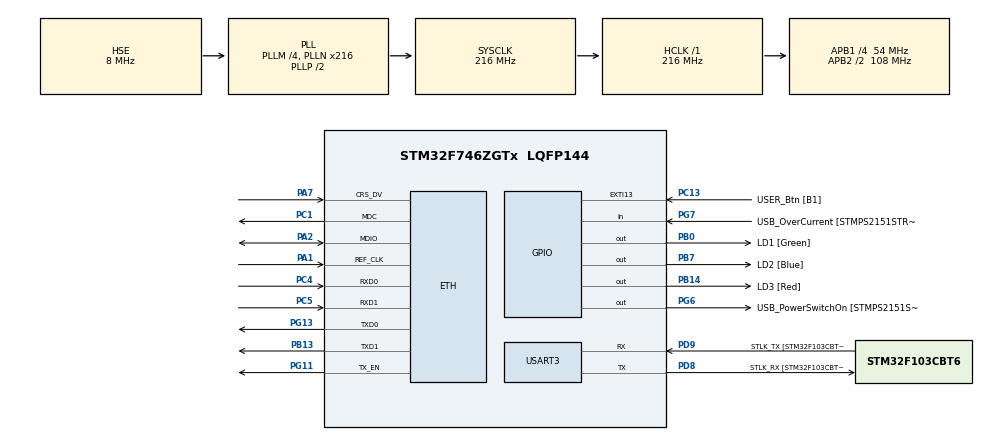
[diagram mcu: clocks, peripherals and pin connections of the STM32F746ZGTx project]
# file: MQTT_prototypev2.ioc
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ETH.MediaInterface=HAL_ETH_RMII_MODE
FREERTOS.MEMORY_ALLOCATION=2
FREERTOS.Tasks01=defaultTask,0,256,StartDefaultTask,Default,NULL,Static,defaultTaskBuffer,defaultTaskControlBlock;mqttClientTask,0,2048,mqttStartClient,As weak,NULL,Static,mqttClientTaskBuffer,mqttClientTaskControlBlock;dataCollection,3,2048,StartDataCollection,As weak,NULL,Static,dataCollectionBuffer,dataCollectionControlBlock;RTOS_UART_TASK,-3,512,StartTask04,As weak,NULL,Static,RTOS_UART_TASKBuffer,RTOS_UART_TASKControlBlock
FREERTOS.configTOTAL_HEAP_SIZE=30620
FREERTOS.configUSE_NEWLIB_REENTRANT=1
LWIP.BSP.number=1
LWIP.IP_ADDRESS=192.168.001.200
LWIP.LWIP_DHCP=0
LWIP.LWIP_RAM_HEAP_POINTER=0x20027f58
LWIP.LWIP_UDP=1
LWIP.MEM_SIZE=1024*8
LWIP.NETMASK_ADDRESS=255.255.255.000
LWIP.Version=v2.1.2_Cube
LWIP0.BSP.STBoard=false
LWIP0.BSP.api=BSP_COMPONENT_DRIVER
LWIP0.BSP.component=LAN8742
LWIP0.BSP.instance=LAN8742
LWIP0.BSP.name=Driver_PHY
LWIP0.BSP.semaphore=S_LAN8742
LWIP0.BSP.solution=LAN8742
Mcu.Family=STM32F7
Mcu.Name=STM32F746ZGTx
Mcu.Package=LQFP144
NVIC.ETH_IRQn=true\:5\:0\:false\:false\:true\:true\:false\:true\:true
NVIC.PriorityGroup=NVIC_PRIORITYGROUP_4
NVIC.TIM6_DAC_IRQn=true\:15\:0\:false\:false\:true\:false\:false\:true\:true
NVIC.TimeBase=TIM6_DAC_IRQn
NVIC.TimeBaseIP=TIM6
PA1.GPIO_Mode=GPIO_MODE_AF_PP
PA1.GPIO_PuPd=GPIO_NOPULL
PA1.GPIO_Speed=GPIO_SPEED_FREQ_VERY_HIGH
PA1.Mode=RMII
PA1.Signal=ETH_REF_CLK
PA10.GPIO_Label=USB_ID
PA10.Signal=USB_OTG_FS_ID
PA11.GPIO_Label=USB_DM
PA11.Signal=USB_OTG_FS_DM
PA12.GPIO_Label=USB_DP
PA12.Signal=USB_OTG_FS_DP
PA13.GPIO_Label=TMS
PA13.Mode=Serial_Wire
PA13.Signal=SYS_JTMS-SWDIO
PA14.GPIO_Label=TCK
PA14.Mode=Serial_Wire
PA14.Signal=SYS_JTCK-SWCLK
PA2.GPIO_Mode=GPIO_MODE_AF_PP
PA2.GPIO_PuPd=GPIO_NOPULL
PA2.GPIO_Speed=GPIO_SPEED_FREQ_VERY_HIGH
PA2.Mode=RMII
PA2.Signal=ETH_MDIO
PA7.GPIO_Mode=GPIO_MODE_AF_PP
PA7.GPIO_PuPd=GPIO_NOPULL
PA7.GPIO_Speed=GPIO_SPEED_FREQ_VERY_HIGH
PA7.Mode=RMII
PA7.Signal=ETH_CRS_DV
PA8.GPIO_Label=USB_SOF [TP1]
PA8.Signal=USB_OTG_FS_SOF
PA9.GPIO_Label=USB_VBUS
PA9.Signal=USB_OTG_FS_VBUS
PB0.GPIO_Label=LD1 [Green]
PB0.Signal=GPIO_Output
PB13.GPIO_Mode=GPIO_MODE_AF_PP
PB13.GPIO_PuPd=GPIO_NOPULL
PB13.GPIO_Speed=GPIO_SPEED_FREQ_VERY_HIGH
PB13.Mode=RMII
PB13.Signal=ETH_TXD1
PB14.GPIO_Label=LD3 [Red]
PB14.Signal=GPIO_Output
PB3.GPIO_Label=SW0
PB3.Signal=SYS_JTDO-SWO
PB7.GPIO_Label=LD2 [Blue]
PB7.Signal=GPIO_Output
PB8.Signal=I2C1_SCL
PB9.Signal=I2C1_SDA
PC1.GPIO_Mode=GPIO_MODE_AF_PP
PC1.GPIO_PuPd=GPIO_NOPULL
PC1.GPIO_Speed=GPIO_SPEED_FREQ_VERY_HIGH
PC1.Mode=RMII
PC1.Signal=ETH_MDC
PC13.GPIO_Label=USER_Btn [B1]
PC13.Signal=GPXTI13
PC14/OSC32_IN.Mode=LSE-External-Oscillator
PC14/OSC32_IN.Signal=RCC_OSC32_IN
PC15/OSC32_OUT.Mode=LSE-External-Oscillator
PC15/OSC32_OUT.Signal=RCC_OSC32_OUT
PC4.GPIO_Mode=GPIO_MODE_AF_PP
PC4.GPIO_PuPd=GPIO_NOPULL
PC4.GPIO_Speed=GPIO_SPEED_FREQ_VERY_HIGH
PC4.Mode=RMII
PC4.Signal=ETH_RXD0
PC5.GPIO_Mode=GPIO_MODE_AF_PP
PC5.GPIO_PuPd=GPIO_NOPULL
PC5.GPIO_Speed=GPIO_SPEED_FREQ_VERY_HIGH
PC5.Mode=RMII
PC5.Signal=ETH_RXD1
PD8.GPIO_Label=STLK_RX [STM32F103CBT6_PA3]
PD8.GPIO_PuPd=GPIO_PULLUP
PD8.Mode=Asynchronous
PD8.Signal=USART3_TX
PD9.GPIO_Label=STLK_TX [STM32F103CBT6_PA2]
PD9.GPIO_PuPd=GPIO_PULLUP
PD9.Mode=Asynchronous
PD9.Signal=USART3_RX
PG11.GPIO_Mode=GPIO_MODE_AF_PP
PG11.GPIO_PuPd=GPIO_NOPULL
PG11.GPIO_Speed=GPIO_SPEED_FREQ_VERY_HIGH
PG11.Mode=RMII
PG11.Signal=ETH_TX_EN
PG13.GPIO_Mode=GPIO_MODE_AF_PP
PG13.GPIO_PuPd=GPIO_NOPULL
PG13.GPIO_Speed=GPIO_SPEED_FREQ_VERY_HIGH
PG13.Mode=RMII
PG13.Signal=ETH_TXD0
PG6.GPIO_Label=USB_PowerSwitchOn [STMPS2151STR_EN]
PG6.Signal=GPIO_Output
PG7.GPIO_Label=USB_OverCurrent [STMPS2151STR_FAULT]
PG7.Signal=GPIO_Input
PH0/OSC_IN.GPIO_Label=MCO [STM32F103CBT6_PA8]
PH0/OSC_IN.Mode=HSE-External-Clock-Source
PH0/OSC_IN.Signal=RCC_OSC_IN
PH1/OSC_OUT.Mode=HSE-External-Clock-Source
PH1/OSC_OUT.Signal=RCC_OSC_OUT
ProjectManager.HeapSize=0x200
ProjectManager.StackSize=0x400
ProjectManager.TargetToolchain=STM32CubeIDE
RCC.48MHZClocksFreq_Value=24000000
RCC.AHBFreq_Value=216000000
RCC.APB1CLKDivider=RCC_HCLK_DIV4
RCC.APB1Freq_Value=54000000
RCC.APB1TimFreq_Value=108000000
RCC.APB2CLKDivider=RCC_HCLK_DIV2
RCC.APB2Freq_Value=108000000
RCC.APB2TimFreq_Value=216000000
RCC.CortexFreq_Value=216000000
RCC.HCLKFreq_Value=216000000
RCC.HSE_VALUE=8000000
RCC.HSI_VALUE=16000000
RCC.PLLM=4
RCC.PLLMUL=RCC_PLL_MUL9
RCC.PLLN=216
RCC.PLLQ=3
RCC.PLLSourceVirtual=RCC_PLLSOURCE_HSE
RCC.PRESCALERUSB=RCC_USBCLKSOURCE_PLL_DIV1_5
RCC.SYSCLKFreq_VALUE=216000000
RCC.SYSCLKSource=RCC_SYSCLKSOURCE_PLLCLK
RCC.SYSCLKSourceVirtual=RCC_SYSCLKSOURCE_PLLCLK
RCC.USBFreq_Value=144000000
RCC.VCOOutputFreq_Value=432000000
USART3.VirtualMode-Asynchronous=VM_ASYNC
VP_FREERTOS_VS_CMSIS_V1.Mode=CMSIS_V1
VP_LWIP_VS_Enabled.Mode=Enabled
VP_SYS_VS_tim6.Mode=TIM6
board=NUCLEO-F746ZG

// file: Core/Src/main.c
/* USER CODE BEGIN Header */
/**
  ******************************************************************************
  * @file           : main.c
  * @brief          : Main program body
  ******************************************************************************
  * @attention
  *
  * Copyright (c) 2025 STMicroelectronics.
  * All rights reserved.
  *
  * This software is licensed under terms that can be found in the LICENSE file
  * in the root directory of this software component.
  * If no LICENSE file comes with this software, it is provided AS-IS.
  *
  ******************************************************************************
  */
/* USER CODE END Header */
#include "main.h"
#include "cmsis_os.h"
#include "lwip.h"
#include "usart.h"
#include "gpio.h"

/* USER CODE BEGIN Includes */
#include "stdio.h"
#include "mqtt_client.h"
#include "mockup_data_generation.h"
/* USER CODE END Includes */

/* USER CODE BEGIN PV */
int _write(int file, char *ptr, int len)
	{
	    HAL_UART_Transmit(&huart3, (uint8_t*)ptr, len, HAL_MAX_DELAY);
	    return len;
	}

extern int32_t FullPacketA[3340];
extern int32_t FullPacketB[3340];
/* USER CODE END PV */

void SystemClock_Config(void);
void MX_FREERTOS_Init(void);

int main(void)
{

  /* MCU Configuration--------------------------------------------------------*/

  /* Reset of all peripherals, Initializes the Flash interface and the Systick. */
  HAL_Init();

  /* Configure the system clock */
  SystemClock_Config();

  /* Initialize all configured peripherals */
  MX_GPIO_Init();
  MX_USART3_UART_Init();
  /* USER CODE BEGIN 2 */
  init_mockup_data();

  /* USER CODE END 2 */

  /* Call init function for freertos objects (in cmsis_os2.c) */
  MX_FREERTOS_Init();

  /* Start scheduler */
  osKernelStart();

  /* We should never get here as control is now taken by the scheduler */

  /* Infinite loop */
  while (1)
  {

  }
}

void SystemClock_Config(void)
{
  RCC_OscInitTypeDef RCC_OscInitStruct = {0};
  RCC_ClkInitTypeDef RCC_ClkInitStruct = {0};

  /** Configure LSE Drive Capability
  */
  HAL_PWR_EnableBkUpAccess();

  /** Configure the main internal regulator output voltage
  */
  __HAL_RCC_PWR_CLK_ENABLE();
  __HAL_PWR_VOLTAGESCALING_CONFIG(PWR_REGULATOR_VOLTAGE_SCALE1);

  /** Initializes the RCC Oscillators according to the specified parameters
  * in the RCC_OscInitTypeDef structure.
  */
  RCC_OscInitStruct.OscillatorType = RCC_OSCILLATORTYPE_HSE;
  RCC_OscInitStruct.HSEState = RCC_HSE_BYPASS;
  RCC_OscInitStruct.PLL.PLLState = RCC_PLL_ON;
  RCC_OscInitStruct.PLL.PLLSource = RCC_PLLSOURCE_HSE;
  RCC_OscInitStruct.PLL.PLLM = 4;
  RCC_OscInitStruct.PLL.PLLN = 216;
  RCC_OscInitStruct.PLL.PLLP = RCC_PLLP_DIV2;
  RCC_OscInitStruct.PLL.PLLQ = 3;
  if (HAL_RCC_OscConfig(&RCC_OscInitStruct) != HAL_OK)
  {
    Error_Handler();
  }

  /** Activate the Over-Drive mode
  */
  if (HAL_PWREx_EnableOverDrive() != HAL_OK)
  {
    Error_Handler();
  }

  /** Initializes the CPU, AHB and APB buses clocks
  */
  RCC_ClkInitStruct.ClockType = RCC_CLOCKTYPE_HCLK|RCC_CLOCKTYPE_SYSCLK
                              |RCC_CLOCKTYPE_PCLK1|RCC_CLOCKTYPE_PCLK2;
  RCC_ClkInitStruct.SYSCLKSource = RCC_SYSCLKSOURCE_PLLCLK;
  RCC_ClkInitStruct.AHBCLKDivider = RCC_SYSCLK_DIV1;
  RCC_ClkInitStruct.APB1CLKDivider = RCC_HCLK_DIV4;
  RCC_ClkInitStruct.APB2CLKDivider = RCC_HCLK_DIV2;

  if (HAL_RCC_ClockConfig(&RCC_ClkInitStruct, FLASH_LATENCY_7) != HAL_OK)
  {
    Error_Handler();
  }
}

void HAL_TIM_PeriodElapsedCallback(TIM_HandleTypeDef *htim)
{
  if (htim->Instance == TIM6) {
    HAL_IncTick();
  }
}

void Error_Handler(void)
{
  __disable_irq();
  while (1)
  {
  }
}

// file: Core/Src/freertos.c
/* USER CODE BEGIN Header */
/**
  ******************************************************************************
  * File Name          : freertos.c
  * Description        : Code for freertos applications
  ******************************************************************************
  * @attention
  *
  * Copyright (c) 2025 STMicroelectronics.
  * All rights reserved.
  *
  * This software is licensed under terms that can be found in the LICENSE file
  * in the root directory of this software component.
  * If no LICENSE file comes with this software, it is provided AS-IS.
  *
  ******************************************************************************
  */
/* USER CODE END Header */

#include "FreeRTOS.h"
#include "task.h"
#include "main.h"
#include "cmsis_os.h"

/* USER CODE BEGIN Includes */
#include "lwip/opt.h"
#include "lwip/api.h"
#include "lwip/sys.h"
#include <string.h>
#include <stdio.h>
#include "mqtt.h"
#include "mqtt_pal.h"
#include "lwip/netif.h"
#include "usart.h"
#include <sys/socket.h>
#include <arpa/inet.h>
#include <unistd.h>
#include <string.h>
#include "mqtt_client.h"
#include "json_parser.h"
#include "fullpacket.h"

#define MQTT_SEND_BUF_SIZE 20480
#define MQTT_RECV_BUF_SIZE 512
#define HTTP_SEND_BUF_SIZE 1024
#define HTTP_RECV_BUF_SIZE 1024

extern struct netif gnetif;
osSemaphoreId lwipReadySemHandle;
osSemaphoreId httpSetupReadySemHandle;

static unsigned char mqtt_sendbuf[MQTT_SEND_BUF_SIZE] __attribute__((aligned(4)));
static unsigned char mqtt_recvbuf[MQTT_RECV_BUF_SIZE];

static char http_sendbuf[HTTP_SEND_BUF_SIZE];
static char http_recvbuf[HTTP_RECV_BUF_SIZE];
char request_json[512];
char response_json[512];

#define HTTP_CREATE_NEW_BENCH 1

//url in the POST request
	const char* urls[] = {
	    "user/login",
	    "bench",
	    "bench-version",
	    "bench-version-token",
	    "fault",
	    "fault-value",
		"condition",
		"condition-value",
		"test-session/create"
	};

typedef enum {
    MQTT_STATE_INIT = 0,
    MQTT_STATE_SOCK_CREATE,
    MQTT_STATE_NETCONN_CONNECT,
    MQTT_STATE_MQTT_INIT,
    MQTT_STATE_MQTT_CONNECT,
	MQTT_STATE_CONNECTING,
    MQTT_STATE_MQTT_LOOP,
    MQTT_STATE_ERROR,
	MQTT_STATE_MQTT_PUBLISH,
	MQTT_STATE_SYNC

} mqtt_state_t;

typedef enum {
    HTTP_STATE_INIT = 0,
    HTTP_SOCK_CONN_CREAT,
    HTTP_LOGIN,
	HTTP_CREATE_BENCH,
	HTTP_CREATE_BENCH_VER,
	HTTP_START_SESSION
} http_state_t;

mqtt_state_t mqtt_state;
http_state_t http_state;
struct mqtt_client client;
const char mqtt_username[]="iot_user";
const char mqtt_password[]="iot_password";
const char mqtt_client_id[]="STM32 Logger BLDC Motor v1.0";

//mqtt_topic[]= "device/%s/raw" -%s is bench_id
char mqtt_topic[64]="device/raw";

err_t error;
_Bool start_process=0;
_Bool success;
int msg_cnt = 0;
char error_msg[128];

HttpClient_t http_client;

FullPacket_t PacketA,PacketB;

int bench_id=-1;
int condition_value_id=-1;
int bench_version_id=-1;
int fault_id=-1;
int fault_value_id[3];
int condition_id=-1;
int dataseries_id=-1;

//Tokens
char version_token[128];
char access_token[128];

int fault_value[3]={0,2,4};

int condition[3]={5000,6000,7000};

const char bench_name[]="Test Bench";
const char bench_version_name[]="Test Version 1.0";
const char fault_name[]="Electrical Fault";
const char condition_name[]="Speed Condition";

_Bool create_session_success=0;
/* USER CODE END Includes */

osThreadId defaultTaskHandle;
uint32_t defaultTaskBuffer[ 2048 ];
osStaticThreadDef_t defaultTaskControlBlock;
osThreadId mqttClientTaskHandle;
uint32_t mqttClientTaskBuffer[ 2048 ];
osStaticThreadDef_t mqttClientTaskControlBlock;
osThreadId dataCollectionHandle;
uint32_t dataCollectionBuffer[ 2048 ];
osStaticThreadDef_t dataCollectionControlBlock;
osThreadId RTOS_UART_TASKHandle;
uint32_t RTOS_UART_TASKBuffer[ 512 ];
osStaticThreadDef_t RTOS_UART_TASKControlBlock;

void StartDefaultTask(void const * argument);
void mqttStartClient(void const * argument);
void StartDataCollection(void const * argument);
void StartTask04(void const * argument);

extern void MX_LWIP_Init(void);
void MX_FREERTOS_Init(void); /* (MISRA C 2004 rule 8.1) */

/* GetIdleTaskMemory prototype (linked to static allocation support) */
void vApplicationGetIdleTaskMemory( StaticTask_t **ppxIdleTaskTCBBuffer, StackType_t **ppxIdleTaskStackBuffer, uint32_t *pulIdleTaskStackSize );

/* USER CODE BEGIN GET_IDLE_TASK_MEMORY */
static StaticTask_t xIdleTaskTCBBuffer;
static StackType_t xIdleStack[configMINIMAL_STACK_SIZE];

void vApplicationGetIdleTaskMemory( StaticTask_t **ppxIdleTaskTCBBuffer, StackType_t **ppxIdleTaskStackBuffer, uint32_t *pulIdleTaskStackSize )
{
  *ppxIdleTaskTCBBuffer = &xIdleTaskTCBBuffer;
  *ppxIdleTaskStackBuffer = &xIdleStack[0];
  *pulIdleTaskStackSize = configMINIMAL_STACK_SIZE;
  /* place for user code */
}
/* USER CODE END GET_IDLE_TASK_MEMORY */

void MX_FREERTOS_Init(void) {

  /* USER CODE BEGIN RTOS_SEMAPHORES */
  /* add semaphores, ... */
	osSemaphoreDef(lwipReadySem);
	lwipReadySemHandle = osSemaphoreCreate(osSemaphore(lwipReadySem), 1);
	osSemaphoreWait(lwipReadySemHandle, 0);

	osSemaphoreDef(httpSetupReadySem);
	httpSetupReadySemHandle = osSemaphoreCreate(osSemaphore(httpSetupReadySem), 1);
	osSemaphoreWait(httpSetupReadySemHandle, 0);

  /* USER CODE END RTOS_SEMAPHORES */

  /* Create the thread(s) */
  /* definition and creation of defaultTask */
  osThreadStaticDef(defaultTask, StartDefaultTask, osPriorityNormal, 0, 2048, defaultTaskBuffer, &defaultTaskControlBlock);
  defaultTaskHandle = osThreadCreate(osThread(defaultTask), NULL);

  /* definition and creation of mqttClientTask */
  osThreadStaticDef(mqttClientTask, mqttStartClient, osPriorityNormal, 0, 2048, mqttClientTaskBuffer, &mqttClientTaskControlBlock);
  mqttClientTaskHandle = osThreadCreate(osThread(mqttClientTask), NULL);

  /* definition and creation of dataCollection */
  osThreadStaticDef(dataCollection, StartDataCollection, osPriorityRealtime, 0, 2048, dataCollectionBuffer, &dataCollectionControlBlock);
  dataCollectionHandle = osThreadCreate(osThread(dataCollection), NULL);

  /* definition and creation of RTOS_UART_TASK */
  //osThreadStaticDef(RTOS_UART_TASK, StartTask04, osPriorityIdle, 0, 512, RTOS_UART_TASKBuffer, &RTOS_UART_TASKControlBlock);
  //RTOS_UART_TASKHandle = osThreadCreate(osThread(RTOS_UART_TASK), NULL);

}

void StartDefaultTask(void const * argument)
{
  /* init code for LWIP */
  MX_LWIP_Init();
  /* USER CODE BEGIN StartDefaultTask */
  osSemaphoreRelease(lwipReadySemHandle);

  osSemaphoreWait(httpSetupReadySemHandle, osWaitForever);
  /* Infinite loop */

  for(;;)
  {

	//osSemaphoreWait(httpSetupReadySemHandle, osWaitForever);
	uint32_t time_start=HAL_GetTick();
	uint32_t time_ms=0;
	msg_cnt=0;
	_Bool packet_select=0;
	int msg_len=0;
	//if(HAL_GPIO_ReadPin(USER_Btn_GPIO_Port, USER_Btn_Pin)==GPIO_PIN_SET)start_process=1;

	while(client.error==MQTT_OK && start_process){
			time_ms=HAL_GetTick()-time_start;
			msg_cnt++;

			if(packet_select)msg_len=create_base64_packet(mqtt_sendbuf, sizeof(mqtt_sendbuf),dataseries_id,version_token,time_ms,&PacketA);
			else msg_len=create_base64_packet(mqtt_sendbuf, sizeof(mqtt_sendbuf),dataseries_id,version_token,time_ms,&PacketB);
			mqtt_publish(&client, mqtt_topic, mqtt_sendbuf, msg_len, MQTT_PUBLISH_QOS_0);
			//memset(mqtt_sendbuf,0,sizeof(mqtt_sendbuf));
			osDelay(2000);
			if(msg_cnt>100){
				start_process=0;
				break;
			}
		}
	//start_process=0;
    osDelay(100);
  }
  /* USER CODE END StartDefaultTask */
}

__weak void mqttStartClient(void const * argument)
{
  /* USER CODE BEGIN mqttStartClient */
	mqtt_state=MQTT_STATE_INIT;
	const unsigned short broker_port = 1883;
	LWIP_UNUSED_ARG(argument);

	osSemaphoreWait(lwipReadySemHandle, osWaitForever);

	while(1)
	{

		// Wait for network to be ready
		while (!netif_is_link_up(&gnetif)) {
			osDelay(100);
		}

		//flash a diode to signal a new connection attempt
		HAL_GPIO_WritePin(LD2_GPIO_Port, LD2_Pin,1);
		osDelay(100);
		HAL_GPIO_WritePin(LD2_GPIO_Port, LD2_Pin,0);
		mqtt_state=MQTT_STATE_NETCONN_CONNECT;

		// Create a new connection;
		int sock_fd;
		if(create_socket_connection(&sock_fd, "192.168.1.10", broker_port, 3)!=0)continue;

		/* Initialize MQTT */
		mqtt_state=MQTT_STATE_MQTT_INIT;
		error=mqtt_init(&client, &sock_fd, mqtt_sendbuf, sizeof(mqtt_sendbuf), mqtt_recvbuf, sizeof(mqtt_recvbuf), NULL);

		/* Connect to broker */
		mqtt_state=MQTT_STATE_MQTT_CONNECT;
		error=mqtt_connect(&client, mqtt_client_id, NULL, NULL, 0, mqtt_username, mqtt_password, 0, 400);
		HAL_GPIO_WritePin(LD2_GPIO_Port, LD2_Pin,1);
		while (client.error == MQTT_OK)
			{
				mqtt_sync(&client);
				mqtt_state=MQTT_STATE_MQTT_PUBLISH;
				osDelay(100);
			}
		mqtt_disconnect(&client);
		close(sock_fd);
		osDelay(2000);
		HAL_GPIO_WritePin(LD2_GPIO_Port, LD2_Pin,0);
	}

  /* Infinite loop */
  for(;;)
  {
    osDelay(100);
  }
  /* USER CODE END mqttStartClient */
}

__weak void StartDataCollection(void const * argument)
{
  /* USER CODE BEGIN StartDataCollection */
  /* Infinite loop */
	const short int api_port=21080;

	int sock_http=0;
	char target_ip[]="192.168.1.10";
	const char username[]="admin";
	const char password[]="admin123";

	//while(1){
	osSemaphoreWait(lwipReadySemHandle, osWaitForever);
	//osSemaphoreRelease(lwipReadySemHandle);
	while(1){

		while (!netif_is_link_up(&gnetif)) {
							osDelay(100);
						}

		osDelay(500);
		HAL_GPIO_WritePin(LD1_GPIO_Port, LD1_Pin,1);
		osDelay(100);
		HAL_GPIO_WritePin(LD1_GPIO_Port, LD1_Pin,0);
		osDelay(400);

		if(create_socket_connection(&sock_http,target_ip, api_port, 3)<0)continue;
		break;
  }

	//intitialize http client

	http_init(&http_client, sock_http, http_sendbuf, HTTP_SEND_BUF_SIZE, http_recvbuf , HTTP_RECV_BUF_SIZE, response_json, 512);
	HAL_GPIO_WritePin(LD1_GPIO_Port, LD1_Pin,1);

//1. login

	//create login json
	int content_len=json_login_message(request_json,  username, password, sizeof(request_json));

	//HAL_UART_Transmit(&huart3, (uint8_t*)request_json, strlen((char*)request_json), HAL_MAX_DELAY);

	//create login POST
	int msg_len=create_post_request(http_sendbuf, 2048, urls[0], target_ip, api_port,NULL, request_json);
	int header_len=msg_len-content_len;

	//send POST
	http_client.error=http_post_request(&http_client, header_len, content_len);

	//parse the response
	if(http_client.error==0){
		parse_json_string(response_json, "\"access_token\"" ,access_token, sizeof(access_token));
		parse_json_bool(response_json, "\"success\"" ,&success);

	}
	//buffers_reset
	memset(http_sendbuf, 0,HTTP_SEND_BUF_SIZE);
	memset(http_recvbuf, 0, HTTP_RECV_BUF_SIZE);
	memset(response_json, 0, sizeof(response_json));
	memset(request_json, 0, sizeof(request_json));
	content_len=0;
	header_len=0;
	msg_len=0;

#ifdef	HTTP_CREATE_NEW_BENCH

//2.create bench

	//create json content

	//int i=0;
	for(int i=0;i<8;i++){
		//create msg content
		steps[i](request_json, sizeof(request_json),0);

		//create POST
		msg_len=create_post_request(http_sendbuf, 2048, urls[i+1], target_ip, api_port,access_token, request_json);
		header_len=msg_len-content_len;
		/*
		HAL_UART_Transmit(&huart3, (uint8_t*)http_sendbuf, strlen((char*)http_sendbuf), HAL_MAX_DELAY);
		HAL_UART_Transmit(&huart3, (uint8_t*)"\r\n", strlen((char*)"\r\n"), HAL_MAX_DELAY);
		HAL_UART_Transmit(&huart3, (uint8_t*)"\r\n", strlen((char*)"\r\n"), HAL_MAX_DELAY);
		*/
		//send POST
		http_client.error=http_post_request(&http_client, header_len, content_len);

		if(http_client.error==0){
				parse_json_string(response_json, "\"access_token\"" ,access_token, sizeof(access_token));
				parse_json_bool(response_json, "\"success\"" ,&success);

		}

		/*HAL_UART_Transmit(&huart3, (uint8_t*)http_recvbuf, strlen((char*)http_recvbuf), HAL_MAX_DELAY);
		HAL_UART_Transmit(&huart3, (uint8_t*)"\r\n", strlen((char*)"\r\n"), HAL_MAX_DELAY);
		HAL_UART_Transmit(&huart3, (uint8_t*)"\r\n", strlen((char*)"\r\n"), HAL_MAX_DELAY);
*/
		if (parse_steps[i](http_client) !=0 ){

			HAL_GPIO_WritePin(LD3_GPIO_Port, LD3_Pin,1);
			break;

		}
		if(i==7)create_session_success=1;
		memset(http_sendbuf, 0,HTTP_SEND_BUF_SIZE);
		memset(http_recvbuf, 0, HTTP_RECV_BUF_SIZE);
		memset(response_json, 0, sizeof(response_json));
		memset(request_json, 0, sizeof(request_json));
		content_len=0;
		header_len=0;
		msg_len=0;
	}

#endif

	if(create_session_success){
		osSemaphoreRelease(lwipReadySemHandle);
		osSemaphoreRelease(httpSetupReadySemHandle);
		start_process=1;
		HAL_GPIO_WritePin(LD1_GPIO_Port, LD1_Pin,0);
	}
	else HAL_GPIO_WritePin(LD3_GPIO_Port, LD3_Pin,1);
		close(sock_http);
	for(;;)osDelay(1000);
  /* USER CODE END StartDataCollection */
}

__weak void StartTask04(void const * argument)
{
  /* USER CODE BEGIN StartTask04 */
  /* Infinite loop */
	 uint8_t buffIn[64];
	    const uint8_t errorMsg[]   = "ERROR: command not recognized\r\n";
	    const uint8_t successMsg[] = "SUCCESS: process will start\r\n";

	    size_t idx = 0;
	    HAL_StatusTypeDef status;
	    const uint32_t perByteTimeout = 200;    // ms to wait for each byte
	    const uint32_t overallTimeout = 2000;   // ms max to wait for full command

	    for (;;)
	    {
	        idx = 0;
	        uint32_t t_start = HAL_GetTick();
	        _Bool gotCommand = 0;

	        while ((HAL_GetTick() - t_start) < overallTimeout && idx < (sizeof(buffIn) - 1))
	        {
	            uint8_t byte;
	            status = HAL_UART_Receive(&huart3, &byte, 1, perByteTimeout);

	            if (status == HAL_OK)
	            {
	                // Ignore CR (carriage return)
	                if (byte == '\r') {
	                    continue;
	                }

	                // If newline -> end of command
	                if (byte == '\n') {
	                    gotCommand = 1;
	                    break;
	                }
	                // store and continue
	                buffIn[idx++] = byte;
	                // reset overall timeout so slow typing within a command is allowed
	                t_start = HAL_GetTick();
	            }
	            else
	            {
	                // no byte received within perByteTimeout, loop and check overall timeout
	            }
	        }

	        // If we have at least one character or gotCommand via newline, process buffer
	        if (idx > 0 || gotCommand)
	        {
	            buffIn[idx] = '\0'; // null-terminate

	            // Optional: trim trailing whitespace
	            while (idx > 0 && (buffIn[idx-1] == ' ' || buffIn[idx-1] == '\t')) {
	                idx--;
	                buffIn[idx] = '\0';
	            }

	            if (strcmp((char*)buffIn, "start") == 0)
	            {
	                HAL_UART_Transmit(&huart3, (uint8_t*)successMsg, strlen((char*)successMsg), HAL_MAX_DELAY);
	                HAL_GPIO_TogglePin(LD2_GPIO_Port, LD2_Pin);
	            }
	            else
	            {
	                HAL_UART_Transmit(&huart3, (uint8_t*)errorMsg, strlen((char*)errorMsg), HAL_MAX_DELAY);
	                HAL_GPIO_TogglePin(LD3_GPIO_Port, LD3_Pin);
	            }
	        }

	  osDelay(10);
  }
  /* USER CODE END StartTask04 */
}
